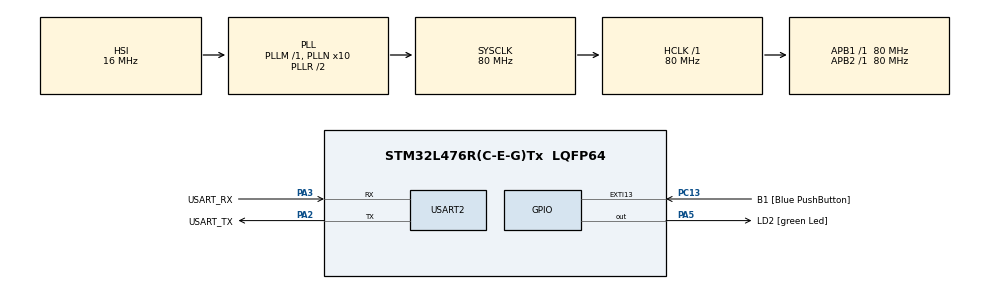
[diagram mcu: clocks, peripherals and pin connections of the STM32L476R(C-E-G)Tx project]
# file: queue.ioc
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FREERTOS.Tasks01=defaultTask,0,128,StartDefaultTask,Default,NULL,Dynamic,NULL,NULL
FREERTOS.configUSE_TIMERS=1
Mcu.Family=STM32L4
Mcu.Name=STM32L476R(C-E-G)Tx
Mcu.Package=LQFP64
NVIC.PriorityGroup=NVIC_PRIORITYGROUP_4
NVIC.USART2_IRQn=true\:5\:0\:false\:false\:true\:true\:true\:true\:true
PA13\ (JTMS-SWDIO).GPIO_Label=TMS
PA13\ (JTMS-SWDIO).Mode=Serial_Wire
PA13\ (JTMS-SWDIO).Signal=SYS_JTMS-SWDIO
PA14\ (JTCK-SWCLK).GPIO_Label=TCK
PA14\ (JTCK-SWCLK).Mode=Serial_Wire
PA14\ (JTCK-SWCLK).Signal=SYS_JTCK-SWCLK
PA2.GPIO_Label=USART_TX
PA2.GPIO_Mode=GPIO_MODE_AF_PP
PA2.GPIO_PuPd=GPIO_NOPULL
PA2.GPIO_Speed=GPIO_SPEED_FREQ_VERY_HIGH
PA2.Mode=Asynchronous
PA2.Signal=USART2_TX
PA3.GPIO_Label=USART_RX
PA3.GPIO_Mode=GPIO_MODE_AF_PP
PA3.GPIO_PuPd=GPIO_NOPULL
PA3.GPIO_Speed=GPIO_SPEED_FREQ_VERY_HIGH
PA3.Mode=Asynchronous
PA3.Signal=USART2_RX
PA5.GPIO_Label=LD2 [green Led]
PA5.GPIO_ModeDefaultOutputPP=GPIO_MODE_OUTPUT_PP
PA5.GPIO_PuPd=GPIO_NOPULL
PA5.GPIO_Speed=GPIO_SPEED_FREQ_LOW
PA5.Signal=GPIO_Output
PB3\ (JTDO-TRACESWO).GPIO_Label=SWO
PB3\ (JTDO-TRACESWO).Signal=SYS_JTDO-SWO
PC13.GPIO_Label=B1 [Blue PushButton]
PC13.GPIO_ModeDefaultEXTI=GPIO_MODE_IT_FALLING
PC13.GPIO_PuPd=GPIO_NOPULL
PC13.Signal=GPXTI13
PC14-OSC32_IN\ (PC14).Mode=LSE-External-Oscillator
PC14-OSC32_IN\ (PC14).Signal=RCC_OSC32_IN
PC15-OSC32_OUT\ (PC15).Mode=LSE-External-Oscillator
PC15-OSC32_OUT\ (PC15).Signal=RCC_OSC32_OUT
PH0-OSC_IN\ (PH0).Signal=RCC_OSC_IN
PH1-OSC_OUT\ (PH1).Signal=RCC_OSC_OUT
ProjectManager.HeapSize=0x200
ProjectManager.StackSize=0x400
ProjectManager.TargetToolchain=STM32CubeIDE
RCC.ADCFreq_Value=64000000
RCC.AHBFreq_Value=80000000
RCC.APB1Freq_Value=80000000
RCC.APB1TimFreq_Value=80000000
RCC.APB2Freq_Value=80000000
RCC.APB2TimFreq_Value=80000000
RCC.CortexFreq_Value=80000000
RCC.HCLKFreq_Value=80000000
RCC.HSE_VALUE=8000000
RCC.HSI_VALUE=16000000
RCC.MSI_VALUE=4000000
RCC.PLLN=10
RCC.PLLSourceVirtual=RCC_PLLSOURCE_HSI
RCC.PREFETCH_ENABLE=1
RCC.SYSCLKFreq_VALUE=80000000
RCC.SYSCLKSource=RCC_SYSCLKSOURCE_PLLCLK
RCC.USBFreq_Value=64000000
RCC.VCOOutputFreq_Value=160000000
USART2.VirtualMode-Asynchronous=VM_ASYNC
VP_FREERTOS_VS_CMSIS_V1.Mode=CMSIS_V1
VP_RTC_VS_RTC_Activate.Mode=RTC_Enabled
VP_RTC_VS_RTC_Calendar.Mode=RTC_Calendar
board=NUCLEO-L476RG

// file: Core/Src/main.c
/* USER CODE BEGIN Header */
/**
  ******************************************************************************
  * @file           : main.c
  * @brief          : Main program body
  ******************************************************************************
  * @attention
  *
  * Copyright (c) 2025 STMicroelectronics.
  * All rights reserved.
  *
  * This software is licensed under terms that can be found in the LICENSE file
  * in the root directory of this software component.
  * If no LICENSE file comes with this software, it is provided AS-IS.
  *
  ******************************************************************************
  */
/* USER CODE END Header */
#include "main.h"
#include "cmsis_os.h"

/* USER CODE BEGIN Includes */
#include<stdio.h>
#include<string.h>
/* USER CODE END Includes */

RTC_HandleTypeDef hrtc;

UART_HandleTypeDef huart2;

osThreadId defaultTaskHandle;
/* USER CODE BEGIN PV */

// Declare task handles
TaskHandle_t taskhandle1 =NULL;
TaskHandle_t taskhandle2 =NULL;
TaskHandle_t taskhandle3 =NULL;
TaskHandle_t taskhandle4 =NULL;

// Declare queue handles
QueueHandle_t cmd_q = NULL;   // Queue for command messages
QueueHandle_t uart_q = NULL;  // Queue for UART messages

// Define a command structure
typedef struct {
    uint8_t cmd_no;       // Command number
    uint8_t cmd_arg[10];  // Arguments for the command
} cmd_t;

// Buffer to store command input from UART
uint8_t cmd_buf[20];
uint8_t cmd_len = 0;

// Menu string that will be sent to UART for user
char menu[]="\r\nLED_ON ->1\r\nLED_OFF ->2\r\nLED_TOGGLE ->3\
		\r\nLED_READ_STATUS ->4\r\nRTC_PRINT ->5\
		\r\nEXIT ->0\r\nENTER YOUR OPTION:";

// Define command macros for easy reference
#define LED_ON 	1
#define	LED_OFF 2
#define LED_TOGGLE 3
#define LED_READ_STATUS 4
#define RTC_READ 5
/* USER CODE END PV */

void SystemClock_Config(void);
static void MX_GPIO_Init(void);
static void MX_USART2_UART_Init(void);
static void MX_RTC_Init(void);
void StartDefaultTask(void const * argument);

/* USER CODE BEGIN PFP */
uint8_t getCommandCode(uint8_t *buffer);

//prototypes command helper functions
void make_led_on(void);
void make_led_off(void);
void led_toggle(void);
void read_led_status(char *task_msg);
void read_rtc_info(char *task_msg);
void print_error_message(char *task_msg);
/* USER CODE END PFP */

/* USER CODE BEGIN 0 */

uint8_t rx_byte;

// UART receive complete interrupt callback (called when a byte is received)
void HAL_UART_RxCpltCallback(UART_HandleTypeDef *huart)
{
    BaseType_t xHigherPriorityTaskWoken = pdFALSE;

    if (huart->Instance == USART2)  // Ensure it is USART2
    {
        // Echo received byte back using interrupt transmit
        HAL_UART_Transmit_IT(&huart2, &rx_byte, 1);

        // Store received byte into buffer
        cmd_buf[cmd_len++] = rx_byte;

        // If ENTER key (\r) is pressed, command is complete
        if (rx_byte == '\r')
        {
            cmd_len = 0; // reset buffer index for next command

            // Notify tasks 1 and 2 that command is ready
            vTaskNotifyGiveFromISR(taskhandle1, &xHigherPriorityTaskWoken);
            vTaskNotifyGiveFromISR(taskhandle2, &xHigherPriorityTaskWoken);
        }

        // Re-enable UART to receive next byte
        HAL_UART_Receive_IT(&huart2, &rx_byte, 1);

        // Yield to higher priority task if required
        portYIELD_FROM_ISR(xHigherPriorityTaskWoken);
    }
}

// Simple wrapper to send string over UART (blocking mode)
void uart_send(char *s)
{
    HAL_UART_Transmit(&huart2, (uint8_t*)s, strlen(s), 1000);
}

// Task 1: Sends the menu to UART queue and waits for notification
void task1_menu(void *p)
{
    char *data = menu;   // Menu string to be sent

    while(1)
    {
        // Put menu string in UART queue
        xQueueSend(uart_q, &data, portMAX_DELAY);

        // Wait until notified (when new command arrives)
        xTaskNotifyWait(0, 0, NULL, portMAX_DELAY);
    }
}

// Task 2: Parses received command and forwards it for processing
void task2_command(void *p)
{
    uint8_t cmd_code = 0;
    cmd_t *new_cmd;

    while(1)
    {
        // Wait until notified (command received)
        xTaskNotifyWait(0,0,NULL,portMAX_DELAY);

        // Allocate memory for new command structure
        new_cmd = (cmd_t*)pvPortMalloc(sizeof(cmd_t));

        // Critical section: read and store command code
        taskENTER_CRITICAL();
        cmd_code = getCommandCode(cmd_buf);
        new_cmd->cmd_no = cmd_code;
        // getArguments(new_cmd->cmd_arg);  // Placeholder if arguments exist
        taskEXIT_CRITICAL();

        // Send new command structure to command queue
        xQueueSend(cmd_q, &new_cmd, portMAX_DELAY);
    }
}

void task3_command_process(void *p)
{
    cmd_t *new_cmd;         // Pointer to hold received command
    char task_msg[50];      // Buffer to store messages (like LED/RTC info)

    while(1)                // Infinite loop (task runs forever)
    {
        // Wait until a command is received from the queue (blocking)
        xQueueReceive(cmd_q, (void*)&new_cmd, portMAX_DELAY);

        // Process command based on cmd_no
        if(new_cmd->cmd_no == LED_ON)
        {
            make_led_on();  // Turn LED ON
        }
        else if(new_cmd->cmd_no == LED_OFF)
        {
            make_led_off(); // Turn LED OFF
        }
        else if(new_cmd->cmd_no == LED_TOGGLE)
        {
            led_toggle();   // Toggle LED ON/OFF
        }
        else if(new_cmd->cmd_no == LED_READ_STATUS)
        {
            read_led_status(task_msg); // Read LED status into task_msg
        }
        else if(new_cmd->cmd_no == RTC_READ)
        {
            read_rtc_info(task_msg);   // Read RTC info into task_msg
        }
        else
        {
            print_error_message(task_msg); // Handle invalid command
        }

        // Free the dynamically allocated command memory
        vPortFree(new_cmd);
    }
}

// Task 4: Transmits data placed in UART queue
void task4_uart_transmit(void *p)
{
    char *data = NULL;

    while(1)
    {
        // Wait for data from UART queue
        xQueueReceive(uart_q, &data, portMAX_DELAY);

        // Send the data string over UART
        uart_send(data);
    }
}

// Extracts command code from buffer
uint8_t getCommandCode(uint8_t *buffer)
{
    return buffer[0] - 48;  // Convert ASCII to number
}

// Turns LED ON (PA5)
void make_led_on(void)
{
    HAL_GPIO_WritePin(GPIOA, GPIO_PIN_5, SET);
}

// Turns LED OFF (PA5)
void make_led_off(void)
{
    HAL_GPIO_WritePin(GPIOA, GPIO_PIN_5, RESET);
}

void led_toggle(void)
{
    // Toggle LED 20 times with 500ms delay
    for(uint8_t i = 0; i < 20; i++)
    {
        HAL_GPIO_TogglePin(GPIOA, GPIO_PIN_5);   // Toggle LED on pin PA5
        vTaskDelay(pdMS_TO_TICKS(500));          // Delay 500 ms (FreeRTOS delay)
    }
}
//Read LED status
void read_led_status(char *task_msg)
{
	sprintf(task_msg , "\r\nLED status is : %d\r\n", HAL_GPIO_ReadPin(GPIOA, GPIO_PIN_5));
	xQueueSend(uart_q,&task_msg,portMAX_DELAY);//write the LED status to Queue
}

// Reads RTC time/date and sends to UART queue
void read_rtc_info(char *task_msg)
{
    RTC_TimeTypeDef sTime = {0};  // Structure to store RTC time
    RTC_DateTypeDef sDate = {0};  // Structure to store RTC date
    if ((RTC->ISR & RTC_ISR_INITS) == 0)
      {
        //RTC not yet initialized. Setting time and date...
       // Set default time: 11:15:30
        sTime.Hours = 9;
        sTime.Minutes = 15;
        sTime.Seconds = 30;
        sTime.DayLightSaving = RTC_DAYLIGHTSAVING_NONE;
        sTime.StoreOperation = RTC_STOREOPERATION_RESET;
        HAL_RTC_SetTime(&hrtc, &sTime, RTC_FORMAT_BIN);
        // Set default date: Friday, 29-Aug-2025
        sDate.WeekDay = RTC_WEEKDAY_FRIDAY;
        sDate.Month = RTC_MONTH_AUGUST;
        sDate.Date = 20;
        sDate.Year = 25;
        HAL_RTC_SetDate(&hrtc, &sDate, RTC_FORMAT_BIN);
      }

    // Read current RTC time and date
    HAL_RTC_GetTime(&hrtc, &sTime, RTC_FORMAT_BIN);
    HAL_RTC_GetDate(&hrtc, &sDate, RTC_FORMAT_BIN);

    // Format time/date into string
    sprintf(task_msg, "Time: %02d:%02d:%02d | Date: %02d-%02d-20%02d\r\n",
              sTime.Hours, sTime.Minutes, sTime.Seconds,
              sDate.Date, sDate.Month, sDate.Year);

    // Send formatted message to UART queue
    xQueueSend(uart_q, &task_msg, portMAX_DELAY);
}

// Sends error message to UART queue
void print_error_message(char *task_msg)
{
    sprintf(task_msg, "\r\nInvalid command received\r\n");
    xQueueSend(uart_q, &task_msg, portMAX_DELAY);
}

/* USER CODE END 0 */

int main(void)
{

  /* MCU Configuration--------------------------------------------------------*/

  /* Reset of all peripherals, Initializes the Flash interface and the Systick. */
  HAL_Init();

  /* Configure the system clock */
  SystemClock_Config();

  /* Initialize all configured peripherals */
  MX_GPIO_Init();
  MX_USART2_UART_Init();
   // <-- required
  MX_RTC_Init();

  /* Create the thread(s) */
  /* definition and creation of defaultTask */
  osThreadDef(defaultTask, StartDefaultTask, osPriorityNormal, 0, 128);
  defaultTaskHandle = osThreadCreate(osThread(defaultTask), NULL);

  /* USER CODE BEGIN RTOS_THREADS */
  uart_send("queue\r\n");   // Send a test message over UART

    // Create a queue to store 'cmd_t' type data, with a maximum of 10 items
    cmd_q = xQueueCreate(10, sizeof(cmd_t));

    // Create another queue to store 8-byte messages, with a maximum of 10 items
    uart_q = xQueueCreate(10, 8);

    // Check if both queues were created successfully
    if((cmd_q != NULL) && (uart_q != NULL))
    {
        // Create Task 1: Menu handling task
        xTaskCreate(task1_menu, "MENU", configMINIMAL_STACK_SIZE, NULL, 1, &taskhandle1);

        // Create Task 2: Command handling task
        xTaskCreate(task2_command, "command_handle", configMINIMAL_STACK_SIZE, NULL, 2, &taskhandle2);

        // Create Task 3: Command processing task
        xTaskCreate(task3_command_process, "command_process", configMINIMAL_STACK_SIZE, NULL, 2, &taskhandle3);

        // Create Task 4: UART transmission task
        xTaskCreate(task4_uart_transmit, "uart_transmit", configMINIMAL_STACK_SIZE, NULL, 2, &taskhandle4);

        // Start UART reception in interrupt mode (receive 1 byte at a time)
        HAL_UART_Receive_IT(&huart2, &rx_byte, 1);
    }
    else
    {
        // If queue creation failed, notify via UART
        uart_send("QUEUE creation failed\r\n");
    }

  /* USER CODE END RTOS_THREADS */

  /* Start scheduler */
  osKernelStart();

  /* We should never get here as control is now taken by the scheduler */

  /* Infinite loop */
  while (1)
  {

  }
}

void SystemClock_Config(void)
{
  RCC_OscInitTypeDef RCC_OscInitStruct = {0};
  RCC_ClkInitTypeDef RCC_ClkInitStruct = {0};

  /** Configure the main internal regulator output voltage
  */
  if (HAL_PWREx_ControlVoltageScaling(PWR_REGULATOR_VOLTAGE_SCALE1) != HAL_OK)
  {
    Error_Handler();
  }

  /** Initializes the RCC Oscillators according to the specified parameters
  * in the RCC_OscInitTypeDef structure.
  */
  RCC_OscInitStruct.OscillatorType = RCC_OSCILLATORTYPE_HSI|RCC_OSCILLATORTYPE_LSI;
  RCC_OscInitStruct.HSIState = RCC_HSI_ON;
  RCC_OscInitStruct.HSICalibrationValue = RCC_HSICALIBRATION_DEFAULT;
  RCC_OscInitStruct.LSIState = RCC_LSI_ON;
  RCC_OscInitStruct.PLL.PLLState = RCC_PLL_ON;
  RCC_OscInitStruct.PLL.PLLSource = RCC_PLLSOURCE_HSI;
  RCC_OscInitStruct.PLL.PLLM = 1;
  RCC_OscInitStruct.PLL.PLLN = 10;
  RCC_OscInitStruct.PLL.PLLP = RCC_PLLP_DIV7;
  RCC_OscInitStruct.PLL.PLLQ = RCC_PLLQ_DIV2;
  RCC_OscInitStruct.PLL.PLLR = RCC_PLLR_DIV2;
  if (HAL_RCC_OscConfig(&RCC_OscInitStruct) != HAL_OK)
  {
    Error_Handler();
  }

  /** Initializes the CPU, AHB and APB buses clocks
  */
  RCC_ClkInitStruct.ClockType = RCC_CLOCKTYPE_HCLK|RCC_CLOCKTYPE_SYSCLK
                              |RCC_CLOCKTYPE_PCLK1|RCC_CLOCKTYPE_PCLK2;
  RCC_ClkInitStruct.SYSCLKSource = RCC_SYSCLKSOURCE_PLLCLK;
  RCC_ClkInitStruct.AHBCLKDivider = RCC_SYSCLK_DIV1;
  RCC_ClkInitStruct.APB1CLKDivider = RCC_HCLK_DIV1;
  RCC_ClkInitStruct.APB2CLKDivider = RCC_HCLK_DIV1;

  if (HAL_RCC_ClockConfig(&RCC_ClkInitStruct, FLASH_LATENCY_4) != HAL_OK)
  {
    Error_Handler();
  }
}

static void MX_RTC_Init(void)
{

  RTC_TimeTypeDef sTime = {0};
  RTC_DateTypeDef sDate = {0};

  /** Initialize RTC Only
  */
  hrtc.Instance = RTC;
  hrtc.Init.HourFormat = RTC_HOURFORMAT_24;
  hrtc.Init.AsynchPrediv = 127;
  hrtc.Init.SynchPrediv = 255;
  hrtc.Init.OutPut = RTC_OUTPUT_DISABLE;
  hrtc.Init.OutPutRemap = RTC_OUTPUT_REMAP_NONE;
  hrtc.Init.OutPutPolarity = RTC_OUTPUT_POLARITY_HIGH;
  hrtc.Init.OutPutType = RTC_OUTPUT_TYPE_OPENDRAIN;
  if (HAL_RTC_Init(&hrtc) != HAL_OK)
  {
    Error_Handler();
  }

  /** Initialize RTC and set the Time and Date
  */
  sTime.Hours = 0x0;
  sTime.Minutes = 0x0;
  sTime.Seconds = 0x0;
  sTime.DayLightSaving = RTC_DAYLIGHTSAVING_NONE;
  sTime.StoreOperation = RTC_STOREOPERATION_RESET;
  if (HAL_RTC_SetTime(&hrtc, &sTime, RTC_FORMAT_BCD) != HAL_OK)
  {
    Error_Handler();
  }
  sDate.WeekDay = RTC_WEEKDAY_MONDAY;
  sDate.Month = RTC_MONTH_JANUARY;
  sDate.Date = 0x1;
  sDate.Year = 0x0;

  if (HAL_RTC_SetDate(&hrtc, &sDate, RTC_FORMAT_BCD) != HAL_OK)
  {
    Error_Handler();
  }

}

static void MX_USART2_UART_Init(void)
{

  huart2.Instance = USART2;
  huart2.Init.BaudRate = 115200;
  huart2.Init.WordLength = UART_WORDLENGTH_8B;
  huart2.Init.StopBits = UART_STOPBITS_1;
  huart2.Init.Parity = UART_PARITY_NONE;
  huart2.Init.Mode = UART_MODE_TX_RX;
  huart2.Init.HwFlowCtl = UART_HWCONTROL_NONE;
  huart2.Init.OverSampling = UART_OVERSAMPLING_16;
  huart2.Init.OneBitSampling = UART_ONE_BIT_SAMPLE_DISABLE;
  huart2.AdvancedInit.AdvFeatureInit = UART_ADVFEATURE_NO_INIT;
  if (HAL_UART_Init(&huart2) != HAL_OK)
  {
    Error_Handler();
  }

}

static void MX_GPIO_Init(void)
{
  GPIO_InitTypeDef GPIO_InitStruct = {0};

  /* GPIO Ports Clock Enable */
  __HAL_RCC_GPIOC_CLK_ENABLE();
  __HAL_RCC_GPIOH_CLK_ENABLE();
  __HAL_RCC_GPIOA_CLK_ENABLE();
  __HAL_RCC_GPIOB_CLK_ENABLE();

  /*Configure GPIO pin Output Level */
  HAL_GPIO_WritePin(LD2_GPIO_Port, LD2_Pin, GPIO_PIN_RESET);

  /*Configure GPIO pin : B1_Pin */
  GPIO_InitStruct.Pin = B1_Pin;
  GPIO_InitStruct.Mode = GPIO_MODE_IT_FALLING;
  GPIO_InitStruct.Pull = GPIO_NOPULL;
  HAL_GPIO_Init(B1_GPIO_Port, &GPIO_InitStruct);

  /*Configure GPIO pin : LD2_Pin */
  GPIO_InitStruct.Pin = LD2_Pin;
  GPIO_InitStruct.Mode = GPIO_MODE_OUTPUT_PP;
  GPIO_InitStruct.Pull = GPIO_NOPULL;
  GPIO_InitStruct.Speed = GPIO_SPEED_FREQ_LOW;
  HAL_GPIO_Init(LD2_GPIO_Port, &GPIO_InitStruct);

}

void StartDefaultTask(void const * argument)
{
  for(;;)
  {
    osDelay(1);
  }
}

void Error_Handler(void)
{
  __disable_irq();
  while (1)
  {
  }
}
